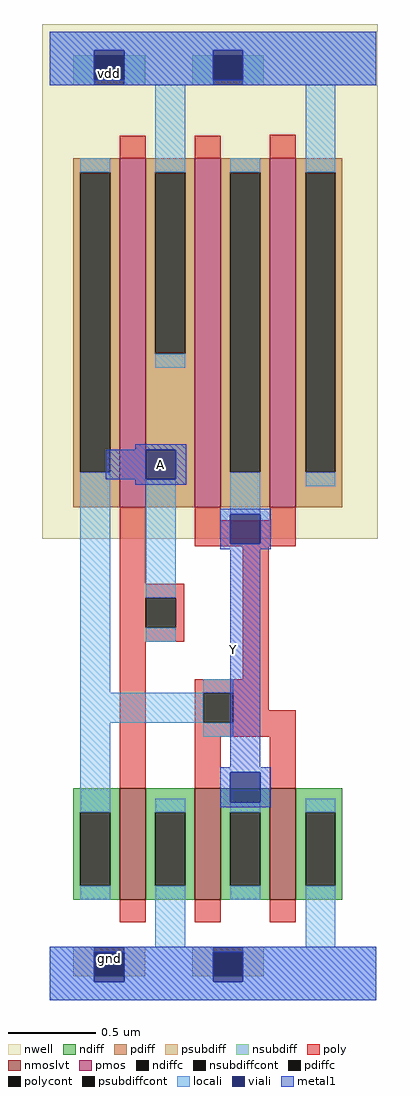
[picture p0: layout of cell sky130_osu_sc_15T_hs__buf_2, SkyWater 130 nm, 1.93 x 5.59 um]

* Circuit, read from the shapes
.subckt sky130_osu_sc_15T_hs__buf_2 A Y
XM1 gnd A n1 gnd sky130_fd_pr__nfet_01v8_lvt w=0.64 l=0.15
XM2 Y n1 gnd gnd sky130_fd_pr__nfet_01v8_lvt w=0.64 l=0.15 m=2
XM3 vdd A n1 vdd sky130_fd_pr__pfet_01v8 w=2 l=0.15
XM4 Y n1 vdd vdd sky130_fd_pr__pfet_01v8 w=2 l=0.15 m=2
.ends

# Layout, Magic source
magic
tech sky130A
magscale 1 2
<< nwell >>
rect -9 529 376 1119
<< nmoslvt >>
rect 80 115 110 243
rect 166 115 196 243
rect 252 115 282 243
<< pmos >>
rect 80 565 110 965
rect 166 565 196 965
rect 252 565 282 965
<< ndiff >>
rect 27 215 80 243
rect 27 131 35 215
rect 69 131 80 215
rect 27 115 80 131
rect 110 215 166 243
rect 110 131 121 215
rect 155 131 166 215
rect 110 115 166 131
rect 196 215 252 243
rect 196 131 207 215
rect 241 131 252 215
rect 196 115 252 131
rect 282 215 335 243
rect 282 131 293 215
rect 327 131 335 215
rect 282 115 335 131
<< pdiff >>
rect 27 949 80 965
rect 27 605 35 949
rect 69 605 80 949
rect 27 565 80 605
rect 110 949 166 965
rect 110 741 121 949
rect 155 741 166 949
rect 110 565 166 741
rect 196 949 252 965
rect 196 605 207 949
rect 241 605 252 949
rect 196 565 252 605
rect 282 949 335 965
rect 282 605 293 949
rect 327 605 335 949
rect 282 565 335 605
<< ndiffc >>
rect 35 131 69 215
rect 121 131 155 215
rect 207 131 241 215
rect 293 131 327 215
<< pdiffc >>
rect 35 605 69 949
rect 121 741 155 949
rect 207 605 241 949
rect 293 605 327 949
<< psubdiff >>
rect 27 27 51 61
rect 85 27 109 61
rect 163 27 187 61
rect 221 27 245 61
<< nsubdiff >>
rect 27 1049 51 1083
rect 85 1049 109 1083
rect 163 1049 187 1083
rect 221 1049 245 1083
<< psubdiffcont >>
rect 51 27 85 61
rect 187 27 221 61
<< nsubdiffcont >>
rect 51 1049 85 1083
rect 187 1049 221 1083
<< poly >>
rect 80 965 110 991
rect 166 965 196 991
rect 252 965 282 992
rect 80 477 110 565
rect 166 550 196 565
rect 252 550 282 565
rect 166 520 282 550
rect 80 461 154 477
rect 80 427 110 461
rect 144 427 154 461
rect 80 411 154 427
rect 80 243 110 411
rect 221 368 251 520
rect 166 352 251 368
rect 166 318 176 352
rect 210 332 251 352
rect 210 318 282 332
rect 166 302 282 318
rect 166 243 196 302
rect 252 243 282 302
rect 80 89 110 115
rect 166 89 196 115
rect 252 89 282 115
<< polycont >>
rect 110 427 144 461
rect 176 318 210 352
<< locali >>
rect 0 1089 374 1110
rect 0 1049 51 1089
rect 85 1049 187 1089
rect 221 1049 374 1089
rect 35 949 69 965
rect 121 949 155 1049
rect 121 725 155 741
rect 207 949 241 965
rect 35 352 69 605
rect 110 461 144 597
rect 207 557 241 605
rect 293 949 327 1049
rect 293 589 327 605
rect 110 411 144 427
rect 176 352 210 368
rect 35 318 176 352
rect 35 215 69 318
rect 176 302 210 318
rect 35 115 69 131
rect 121 215 155 231
rect 121 61 155 131
rect 207 215 241 227
rect 207 115 241 131
rect 293 215 327 231
rect 293 61 327 131
rect 0 21 51 61
rect 85 21 187 61
rect 221 21 374 61
rect 0 0 374 21
<< viali >>
rect 51 1083 85 1089
rect 51 1055 85 1083
rect 187 1083 221 1089
rect 187 1055 221 1083
rect 110 597 144 631
rect 207 523 241 557
rect 207 227 241 261
rect 51 27 85 55
rect 51 21 85 27
rect 187 27 221 55
rect 187 21 221 27
<< metal1 >>
rect 0 1089 374 1110
rect 0 1055 51 1089
rect 85 1055 187 1089
rect 221 1055 374 1089
rect 0 1049 374 1055
rect 98 631 156 637
rect 64 597 110 631
rect 144 597 156 631
rect 98 591 156 597
rect 195 557 253 563
rect 195 523 207 557
rect 241 523 253 557
rect 195 517 253 523
rect 207 267 241 517
rect 195 261 253 267
rect 195 227 207 261
rect 241 227 253 261
rect 195 221 253 227
rect 0 55 374 61
rect 0 21 51 55
rect 85 21 187 55
rect 221 21 374 55
rect 0 0 374 21
<< labels >>
rlabel viali 127 614 127 614 1 A
port 1 n
rlabel metal1 211 402 211 402 1 Y
port 2 n
rlabel viali 68 48 68 48 1 gnd
rlabel viali 68 1062 68 1062 1 vdd
<< end >>
